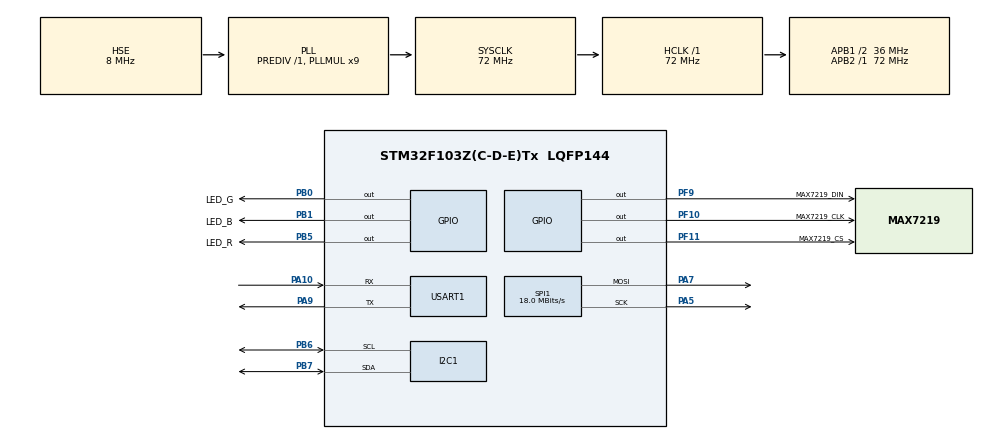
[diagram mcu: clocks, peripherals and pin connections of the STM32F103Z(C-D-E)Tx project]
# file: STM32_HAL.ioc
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I2C1.I2C_Mode=I2C_Fast
Mcu.Family=STM32F1
Mcu.Name=STM32F103Z(C-D-E)Tx
Mcu.Package=LQFP144
NVIC.PriorityGroup=NVIC_PRIORITYGROUP_4
NVIC.USART1_IRQn=true\:0\:0\:false\:false\:true\:true\:true\:true
OSC_IN.Mode=HSE-External-Oscillator
OSC_IN.Signal=RCC_OSC_IN
OSC_OUT.Mode=HSE-External-Oscillator
OSC_OUT.Signal=RCC_OSC_OUT
PA10.Mode=Asynchronous
PA10.Signal=USART1_RX
PA13.Mode=JTAG_5_pins
PA13.Signal=SYS_JTMS-SWDIO
PA14.Mode=JTAG_5_pins
PA14.Signal=SYS_JTCK-SWCLK
PA15.Mode=JTAG_5_pins
PA15.Signal=SYS_JTDI
PA5.Mode=TX_Only_Simplex_Unidirect_Master
PA5.Signal=SPI1_SCK
PA7.Mode=TX_Only_Simplex_Unidirect_Master
PA7.Signal=SPI1_MOSI
PA9.Mode=Asynchronous
PA9.Signal=USART1_TX
PB0.GPIO_Label=LED_G
PB0.GPIO_Speed=GPIO_SPEED_FREQ_HIGH
PB0.PinState=GPIO_PIN_SET
PB0.Signal=GPIO_Output
PB1.GPIO_Label=LED_B
PB1.GPIO_Speed=GPIO_SPEED_FREQ_HIGH
PB1.PinState=GPIO_PIN_SET
PB1.Signal=GPIO_Output
PB3.Mode=JTAG_5_pins
PB3.Signal=SYS_JTDO-TRACESWO
PB4.Mode=JTAG_5_pins
PB4.Signal=SYS_NJTRST
PB5.GPIO_Label=LED_R
PB5.GPIO_Speed=GPIO_SPEED_FREQ_HIGH
PB5.PinState=GPIO_PIN_SET
PB5.Signal=GPIO_Output
PB6.Mode=I2C
PB6.Signal=I2C1_SCL
PB7.Mode=I2C
PB7.Signal=I2C1_SDA
PC14-OSC32_IN.Mode=LSE-External-Oscillator
PC14-OSC32_IN.Signal=RCC_OSC32_IN
PC15-OSC32_OUT.Mode=LSE-External-Oscillator
PC15-OSC32_OUT.Signal=RCC_OSC32_OUT
PF10.GPIO_Label=MAX7219_CLK
PF10.GPIO_Speed=GPIO_SPEED_FREQ_LOW
PF10.PinState=GPIO_PIN_SET
PF10.Signal=GPIO_Output
PF11.GPIO_Label=MAX7219_CS
PF11.GPIO_Speed=GPIO_SPEED_FREQ_LOW
PF11.PinState=GPIO_PIN_SET
PF11.Signal=GPIO_Output
PF9.GPIO_Label=MAX7219_DIN
PF9.GPIO_Speed=GPIO_SPEED_FREQ_LOW
PF9.PinState=GPIO_PIN_SET
PF9.Signal=GPIO_Output
ProjectManager.HeapSize=0x200
ProjectManager.StackSize=0x400
ProjectManager.TargetToolchain=CMake
RCC.AHBFreq_Value=72000000
RCC.APB1CLKDivider=RCC_HCLK_DIV2
RCC.APB1Freq_Value=36000000
RCC.APB1TimFreq_Value=72000000
RCC.APB2Freq_Value=72000000
RCC.APB2TimFreq_Value=72000000
RCC.HCLKFreq_Value=72000000
RCC.PLLMUL=RCC_PLL_MUL9
RCC.PLLSourceVirtual=RCC_PLLSOURCE_HSE
RCC.SYSCLKFreq_VALUE=72000000
RCC.SYSCLKSource=RCC_SYSCLKSOURCE_PLLCLK
RCC.USBFreq_Value=72000000
SPI1.BaudRatePrescaler=SPI_BAUDRATEPRESCALER_4
SPI1.CalculateBaudRate=18.0 MBits/s
SPI1.Direction=SPI_DIRECTION_2LINES
SPI1.Mode=SPI_MODE_MASTER
SPI1.VirtualType=VM_MASTER
TIM6.Prescaler=72-1
USART1.VirtualMode=VM_ASYNC
VP_TIM6_VS_ClockSourceINT.Mode=Enable_Timer
board=custom

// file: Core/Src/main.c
/* USER CODE BEGIN Header */
/**
  ******************************************************************************
  * @file           : main.c
  * @brief          : Main program body
  ******************************************************************************
  * @attention
  *
  * Copyright (c) 2024 STMicroelectronics.
  * All rights reserved.
  *
  * This software is licensed under terms that can be found in the LICENSE file
  * in the root directory of this software component.
  * If no LICENSE file comes with this software, it is provided AS-IS.
  *
  ******************************************************************************
  */
/* USER CODE END Header */
#include "main.h"
#include "i2c.h"
#include "spi.h"
#include "tim.h"
#include "usart.h"
#include "gpio.h"

/* USER CODE BEGIN Includes */

#include <stdio.h>
#include "oled.h"
#include "max7219.h"

/* USER CODE END Includes */

/* USER CODE BEGIN PM */

// R: PB5, G: PB0, B: PB1
#define LED_R 0xFFFFFFDF
#define LED_G 0xFFFFFFFE
#define LED_B 0xFFFFFFFD

/* USER CODE END PM */

/* USER CODE BEGIN PV */
extern UART_HandleTypeDef huart1;
uint32_t ledColorArray[] = {LED_R, LED_G, LED_B};
int count = 0;

/* USER CODE END PV */

void SystemClock_Config(void);

int main(void)
{

  /* MCU Configuration--------------------------------------------------------*/

  /* Reset of all peripherals, Initializes the Flash interface and the Systick. */
  HAL_Init();

  /* Configure the system clock */
  SystemClock_Config();

  /* Initialize all configured peripherals */
  MX_GPIO_Init();
  MX_I2C1_Init();
  MX_USART1_UART_Init();
  MX_TIM6_Init();
  MX_SPI1_Init();
  /* USER CODE BEGIN 2 */

  // start TIM6 for i2c delay
  HAL_TIM_Base_Start(&htim6);

  /* USER CODE END 2 */

  /* Infinite loop */
  /* USER CODE BEGIN WHILE */
  __HAL_RCC_GPIOB_CLK_ENABLE();

  MAX7219_Begin();
  // MAX7219_DisplayTestStart();
  // MAX7219_DisplayChar(1, '1', 0);
  // MAX7219_DisplayChar(2, '2', 0);
  // MAX7219_DisplayChar(3, '3', 0);
  // MAX7219_DisplayChar(4, '4', 0);
  // MAX7219_DisplayChar(5, '5', 1);
  // MAX7219_DisplayChar(6, '6', 1);
  // MAX7219_DisplayChar(7, '7', 1);
  // MAX7219_DisplayChar(8, '8', 1);

  // MAX7219_DisplayText("1.2.3.4.", 1);

  while (1)
  {
    /* USER CODE END WHILE */

    /* USER CODE BEGIN 3 */

    MAX7219_printf("%d", count);
    HAL_GPIO_TogglePin(GPIOB, LED_G_Pin);
    HAL_Delay(500);
    count++;
  }
  /* USER CODE END 3 */
}

void SystemClock_Config(void)
{
  RCC_OscInitTypeDef RCC_OscInitStruct = {0};
  RCC_ClkInitTypeDef RCC_ClkInitStruct = {0};

  /** Initializes the RCC Oscillators according to the specified parameters
  * in the RCC_OscInitTypeDef structure.
  */
  RCC_OscInitStruct.OscillatorType = RCC_OSCILLATORTYPE_HSE;
  RCC_OscInitStruct.HSEState = RCC_HSE_ON;
  RCC_OscInitStruct.HSEPredivValue = RCC_HSE_PREDIV_DIV1;
  RCC_OscInitStruct.HSIState = RCC_HSI_ON;
  RCC_OscInitStruct.PLL.PLLState = RCC_PLL_ON;
  RCC_OscInitStruct.PLL.PLLSource = RCC_PLLSOURCE_HSE;
  RCC_OscInitStruct.PLL.PLLMUL = RCC_PLL_MUL9;
  if (HAL_RCC_OscConfig(&RCC_OscInitStruct) != HAL_OK)
  {
    Error_Handler();
  }

  /** Initializes the CPU, AHB and APB buses clocks
  */
  RCC_ClkInitStruct.ClockType = RCC_CLOCKTYPE_HCLK|RCC_CLOCKTYPE_SYSCLK
                              |RCC_CLOCKTYPE_PCLK1|RCC_CLOCKTYPE_PCLK2;
  RCC_ClkInitStruct.SYSCLKSource = RCC_SYSCLKSOURCE_PLLCLK;
  RCC_ClkInitStruct.AHBCLKDivider = RCC_SYSCLK_DIV1;
  RCC_ClkInitStruct.APB1CLKDivider = RCC_HCLK_DIV2;
  RCC_ClkInitStruct.APB2CLKDivider = RCC_HCLK_DIV1;

  if (HAL_RCC_ClockConfig(&RCC_ClkInitStruct, FLASH_LATENCY_2) != HAL_OK)
  {
    Error_Handler();
  }
}

/* USER CODE BEGIN 4 */
int __io_putchar(int ch)
{
    HAL_UART_Transmit(&huart1, (uint8_t *)&ch, 1, HAL_MAX_DELAY);
    return 0;
}
/* USER CODE END 4 */

void Error_Handler(void)
{
  __disable_irq();
  while (1)
  {
  }
}
